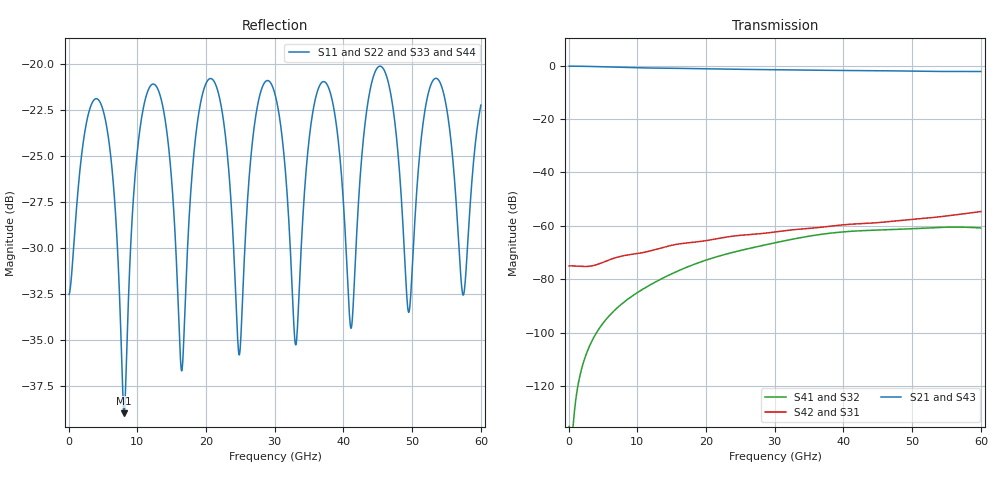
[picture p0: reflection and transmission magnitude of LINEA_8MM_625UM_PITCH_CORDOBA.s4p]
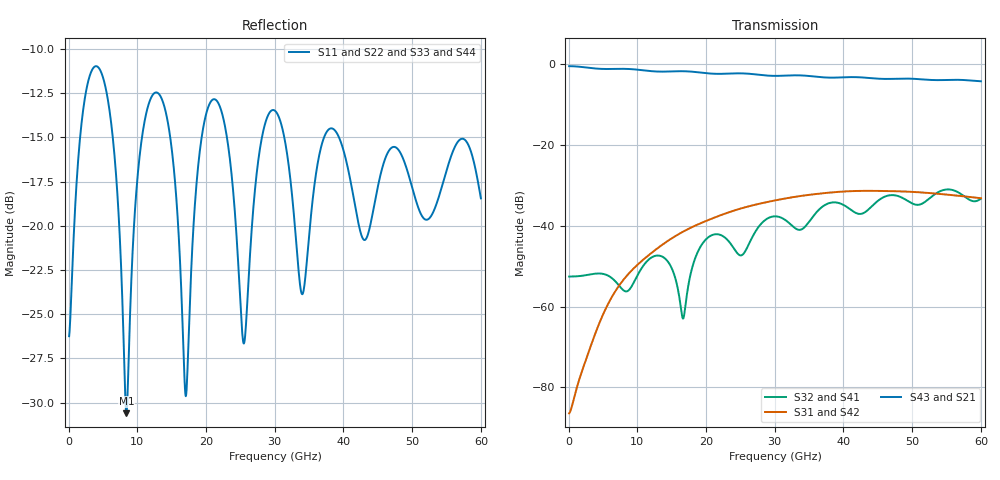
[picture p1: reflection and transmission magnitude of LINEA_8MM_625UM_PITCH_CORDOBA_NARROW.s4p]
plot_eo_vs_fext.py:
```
"""FEXT (|S41|, continuous, from the s4p) and EO crosstalk B/A (12 monitor points, from the gap fields,
50 ohm, push-pull) on one dB axis, for CORDOBA and CORDOBA HZ. Both are amplitude ratios (20 log10)."""
import os, sys
sys.path.insert(0, os.path.abspath(os.path.join(os.path.dirname(__file__), "../../../..")))
import numpy as np, skrf, matplotlib
matplotlib.use("Agg")
import matplotlib.pyplot as plt
from mzm_interconnect import parameters as P, xtalk_s4p as X, xtalk_fields as XF
HERE = os.path.dirname(os.path.abspath(__file__))
RUNS = [("CORDOBA", os.path.join(HERE, "../cordoba_8mm"), "LINEA_8MM_625UM_PITCH_CORDOBA.s4p", "#2a78d6"),
        ("CORDOBA HZ", HERE, "LINEA_8MM_625UM_PITCH_CORDOBA_NARROW.s4p", "#eb6834")]
INK, MUTED, GRID, SURF = "#1f1f1e", "#6b6a64", "#e4e3de", "#fcfcfb"
plt.rcParams.update({"font.size": 10, "axes.edgecolor": MUTED, "axes.labelcolor": INK, "xtick.color": MUTED,
                     "ytick.color": MUTED, "axes.facecolor": SURF, "figure.facecolor": SURF, "axes.grid": True,
                     "grid.color": GRID, "grid.linewidth": 0.8, "axes.spines.top": False, "axes.spines.right": False})
d = lambda x: 20 * np.log10(np.abs(x) + 1e-30)
p = P.defaults(); p["Rt_R"] = 50.0; p["Zs_R"] = 50.0
fig, a = plt.subplots(figsize=(10, 5.5))
for name, path, s4p, col in RUNS:
    net = skrf.Network(os.path.join(path, s4p))
    a.plot(net.f / 1e9, d(net.s[:, 3, 0]), color=col, lw=2, label=f"{name}: FEXT |S41| (s4p)")
    r = XF.eo_crosstalk_fields(p, XF.load_field_dir(path), X.load_pair(os.path.join(path, s4p), 8.0))
    a.plot(r["f_GHz"], d(r["X"]), "o", color=col, ms=8, mec=SURF, mew=2, label=f"{name}: EO crosstalk B/A (gap fields)")
    a.plot(r["f_GHz"], d(r["X"]), ":", color=col, lw=1.2)
a.set_xlim(0, 60); a.set_ylim(-140, -20)
a.set_xlabel("Frequency (GHz)"); a.set_ylabel("dB (amplitude ratio)")
a.set_title("8 mm pairs, 625 µm pitch: far-end crosstalk and EO crosstalk on one scale\n"
            "(50 Ω; EO: push-pull, optical n_g 2.27, exact at the 12 monitor frequencies, dotted lines only join them)",
            loc="left", color=INK, fontsize=10)
a.legend(frameon=False, loc="lower right", fontsize=9)
fig.tight_layout(); fig.savefig(os.path.join(HERE, "eo_vs_fext.png"), dpi=150)
print("ok")
```
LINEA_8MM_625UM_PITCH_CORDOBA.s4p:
! TOUCHSTONE file generated by CST MICROWAVE STUDIO
! Date and time: Wed Oct 28 09:14:27 2026
! Project name: LINEA_8MM_625UM_PITCH_CORDOBA.cst
! Parameters = {CHANNEL_PITCH=0.625; GAP=0.00415; L=8; L1=0.02; L2=0.086; L3=0.066; NCELL=1; PITCH=0.18; START_POSITION=0.13; W1=0.003; W2=0.004; W3=0.009; WG=0.04985; gap_oxr=0.00125; linbo3_thickness=0.0002; mtx=0.002; oxiDinE=0.0014; w=0.185; ws=0.035}
! Header version: 2024
! Port assignment regex: !\s*Touchstone port\s*([0-9]+)\s*=\s*(CST MWS port|CST DES external port|CST DES block port)\s*(.+)\s* \(\"(.*)\"\)(\s*mode\s*([0-9]+))?.*
! Touchstone port assignment:
! Touchstone port 1 = CST MWS port 1 ("")
! Touchstone port 2 = CST MWS port 2 ("")
! Touchstone port 3 = CST MWS port 3 ("")
! Touchstone port 4 = CST MWS port 4 ("")
# GHz S MA R 50
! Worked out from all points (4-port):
!   1000 points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, 60 MHz to 60 GHz, reference 50 ohm
!   strongest paths, dB at 60 MHz, 15.06 GHz, 30.06 GHz, 45.06 GHz, 60 GHz:
!     S21: -0.3, -1.0, -1.5, -1.9, -2.2
!     S43: -0.3, -1.0, -1.5, -1.9, -2.2
!     S42: -75.0, -67.3, -62.3, -58.8, -54.7
!     S31: -75.0, -67.3, -62.3, -58.8, -54.7
!     S41: -135.2, -77.9, -66.4, -61.6, -60.8
!     S32: -135.3, -77.9, -66.4, -61.6, -60.8
!   lowest |S11| = -39.0 dB at 8.04 GHz (marker M1), VSWR 1.02, Z = 48.9 - j0.272 ohm
!   |S11| at or under -10 dB: start of sweep to end of sweep
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0.06  0.02363 -5.6  0.9716 -1.3  0.0001772 -2.9  1.729e-07 173.7
      0.9716 -1.3  0.02363 -5.6  1.727e-07 173.7  0.0001773 -2.9
      0.0001772 -2.9  1.719e-07 173.7  0.02363 -5.6  0.9716 -1.3
      1.741e-07 173.7  0.0001773 -2.9  0.9716 -1.3  0.02363 -5.6
8.04  0.01123 -165.7  0.9195 -176.0  0.0002753 -36.9  3.704e-05 178.9
      0.9195 -176.0  0.0112 -165.6  3.703e-05 178.9  0.0002753 -36.9
      0.0002753 -36.9  3.704e-05 178.9  0.01123 -165.7  0.9195 -176.0
      3.703e-05 178.9  0.0002753 -36.9  0.9195 -176.0  0.0112 -165.6
60  0.07722 -125.7  0.7723 153.1  0.001843 144.6  0.0009075 63.1
    0.7723 153.1  0.07724 -125.9  0.0009075 63.1  0.001843 144.7
    0.001843 144.6  0.0009075 63.1  0.07723 -125.7  0.7723 153.1
    0.0009075 63.1  0.001843 144.7  0.7723 153.1  0.07723 -125.9
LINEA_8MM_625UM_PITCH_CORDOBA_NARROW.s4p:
! TOUCHSTONE file generated by CST MICROWAVE STUDIO
! Date and time: Thu Oct 29 13:48:41 2026
! Project name: LINEA_8MM_625UM_PITCH_CORDOBA_NARROW.cst
! Parameters = {CHANNEL_PITCH=0.625; GAP=0.00415; L=8; L1=0.02; L2=0.086; L3=0.066; NCELL=1; PITCH=0.18; START_POSITION=0.13; W1=0.003; W2=0.004; W3=0.009; WG=0.025; gap_oxr=0.00125; linbo3_thickness=0.0002; mtx=0.002; oxiDinE=0.0014; w=0.185; ws=0.01}
! Header version: 2024
! Port assignment regex: !\s*Touchstone port\s*([0-9]+)\s*=\s*(CST MWS port|CST DES external port|CST DES block port)\s*(.+)\s* \(\"(.*)\"\)(\s*mode\s*([0-9]+))?.*
! Touchstone port assignment:
! Touchstone port 1 = CST MWS port 1 ("")
! Touchstone port 2 = CST MWS port 2 ("")
! Touchstone port 3 = CST MWS port 3 ("")
! Touchstone port 4 = CST MWS port 4 ("")
# GHz S MA R 50
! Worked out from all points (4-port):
!   1000 points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, 60 MHz to 60 GHz, reference 50 ohm
!   strongest paths, dB at 60 MHz, 15.06 GHz, 30.06 GHz, 45.06 GHz, 60 GHz:
!     S43: -0.4, -1.7, -2.8, -3.5, -4.2
!     S21: -0.4, -1.7, -2.8, -3.5, -4.2
!     S31: -86.5, -43.0, -33.7, -31.3, -33.2
!     S42: -86.5, -43.0, -33.7, -31.3, -33.1
!     S32: -52.6, -50.8, -37.6, -33.7, -33.3
!     S41: -52.6, -50.8, -37.6, -33.7, -33.3
!   lowest |S11| = -30.6 dB at 8.4 GHz (marker M1), VSWR 1.06, Z = 53 - j0.525 ohm
!   |S11| at or under -10 dB: start of sweep to end of sweep
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0.06  0.04872 6.6  0.9523 -1.4  4.735e-05 1.5  0.002352 176.1
      0.9523 -1.4  0.04872 6.6  0.002352 176.1  4.744e-05 1.5
      4.748e-05 1.5  0.002352 176.1  0.04872 6.6  0.9523 -1.4
      0.002352 176.1  4.756e-05 1.5  0.9523 -1.4  0.04872 6.6
8.4  0.02949 -9.7  0.8812 -179.1  0.002375 -14.8  0.001539 -8.7
     0.8812 -179.1  0.02952 -9.7  0.001539 -8.7  0.002375 -14.8
     0.002375 -14.8  0.001539 -8.7  0.02949 -9.7  0.8812 -179.1
     0.001539 -8.7  0.002375 -14.8  0.8812 -179.1  0.02952 -9.7
60  0.1195 -32.6  0.6189 -164.9  0.02198 170.1  0.02171 111.3
    0.6189 -164.9  0.1194 -32.6  0.02171 111.3  0.022 170.2
    0.02199 170.1  0.0217 111.3  0.1195 -32.6  0.6189 -164.9
    0.0217 111.3  0.02201 170.2  0.6189 -164.9  0.1194 -32.6
